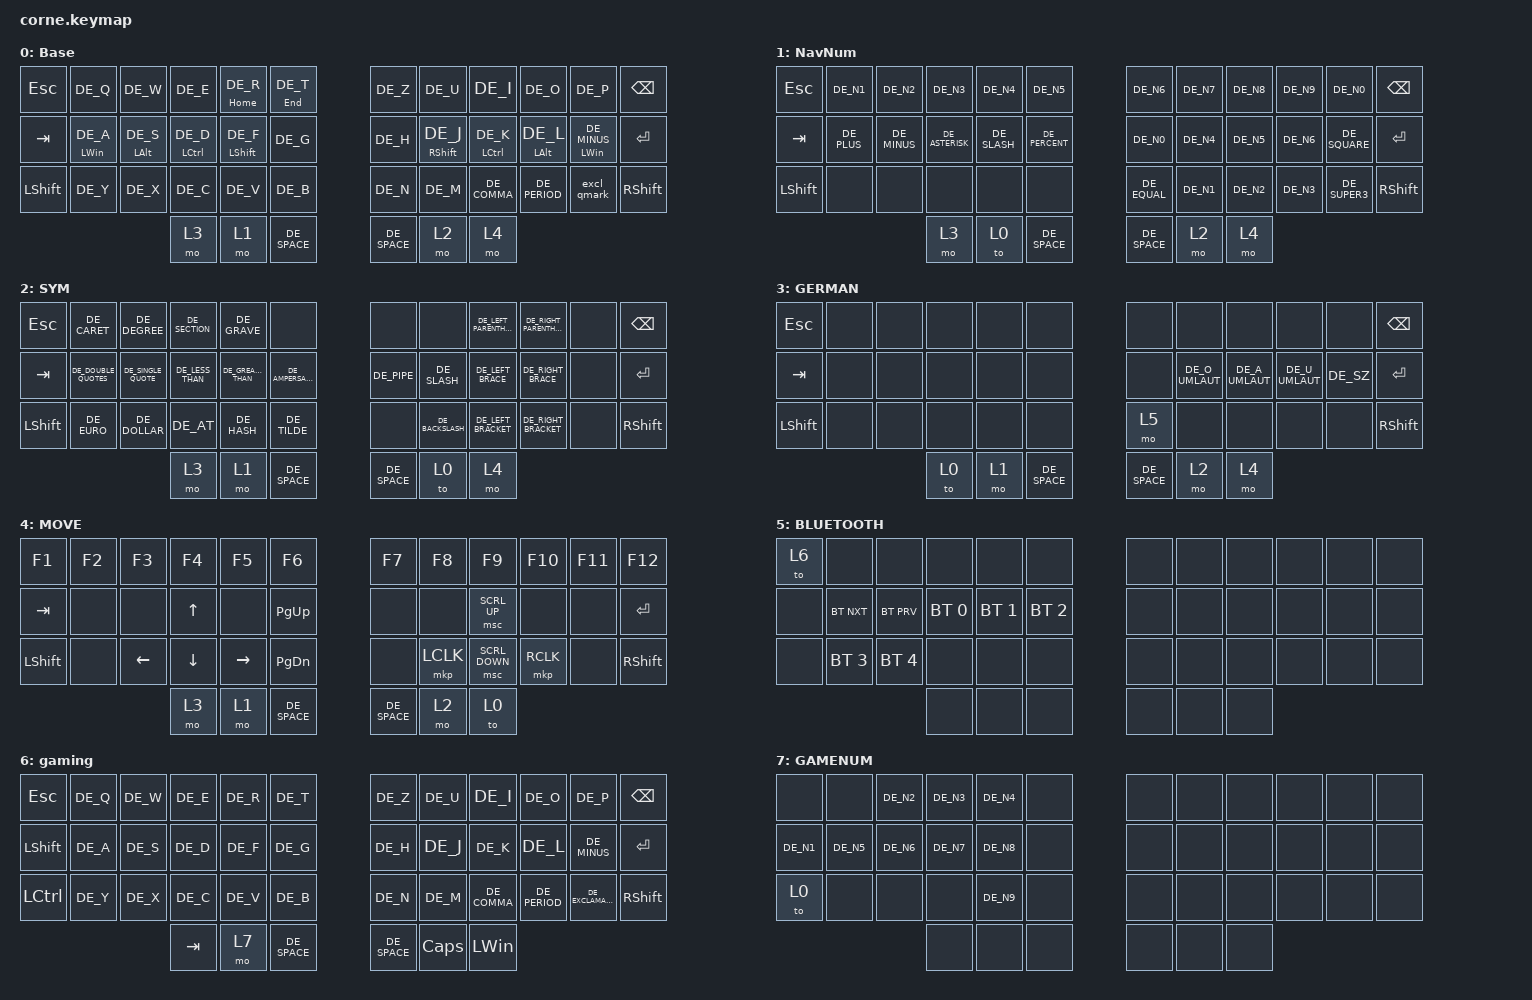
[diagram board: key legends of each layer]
#include <behaviors.dtsi>
#include <dt-bindings/zmk/bt.h>
#include <dt-bindings/zmk/keys.h>
#include <dt-bindings/zmk/pointing.h>
#include "keys_de.h"

#define DEF 0
#define NAV 1
#define SYM 2
#define ADJ 3
#define EXTRA 4

/ {
    behaviors {
        excl_qmark: exclamation_question {
            compatible = "zmk,behavior-mod-morph";
            #binding-cells = <0>;
            bindings = <&kp DE_EXCL>, <&kp DE_QMARK>;

            mods = <(MOD_LSFT|MOD_RSFT)>;
        };

        hm: homerow_mods {
            compatible = "zmk,behavior-hold-tap";
            #binding-cells = <2>;
            tapping-term-ms = <200>;
            flavor = "tap-preferred";
            bindings = <&kp>, <&kp>;

            quick-tap-ms = <180>;
            require-prior-idle-ms = <120>; /* tune to taste */
        };

        para: para {
            compatible = "zmk,behavior-tap-dance";
            #binding-cells = <0>;
            bindings = <&kp LEFT_PARENTHESIS>, <&kp RIGHT_PARENTHESIS>;
        };

        caps: caps {
            compatible = "zmk,behavior-caps-word";
            #binding-cells = <0>;
            continue-list = <MINUS BACKSPACE>;
        };

        paraless: paraless {
            compatible = "zmk,behavior-mod-morph";
            bindings = <&kp LEFT_PARENTHESIS>, <&kp LESS_THAN>;

            #binding-cells = <0>;
            mods = <(MOD_LSFT)>;
        };

        paragreat: paragreat {
            compatible = "zmk,behavior-mod-morph";
            bindings = <&kp RIGHT_PARENTHESIS>, <&kp GREATER_THAN>;

            #binding-cells = <0>;
            mods = <(MOD_LSFT)>;
        };

        shift: shift {
            compatible = "zmk,behavior-hold-tap";
            label = "SHIFT";
            bindings = <&kp>, <&kp>;

            #binding-cells = <2>;
            flavor = "balanced";
            tapping-term-ms = <200>;
            quick-tap-ms = <175>;
            require-prior-idle-ms = <150>;
        };
    };

    combos {
        compatible = "zmk,combos";

        right_alt {
            bindings = <&kp RIGHT_ALT>;
            key-positions = <14 21>;
        };

        caps {
            bindings = <&kp CAPSLOCK>;
            key-positions = <0 11>;
        };
    };

    //

    keymap {
        compatible = "zmk,keymap";

        BASE {
            display-name = "Base";

            // -----------------------------------------------------------------------------------------
            // |  Q  |  W  |  E  |  R  |  T  |   |  Y  |  U   |  I  |  O  |  P  |
            // |  A  |  S  |  D  |  F  |  G  |   |  H  |  J   |  K  |  L  |  ;  |
            // |  Z  |  X  |  C  |  V  |  B  |   |  N  |  M   |  ,  |  .  |  /  |
            // | GUI | CTRL | SHFT | LWR | SPC |   | ENT | RSE  | BKSP | ALT | ESC |

            bindings = <
&kp ESCAPE      &kp DE_Q           &kp DE_W           &kp DE_E               &hm HOME DE_R           &hm END DE_T    &kp DE_Z      &kp DE_U                 &kp DE_I               &kp DE_O           &kp DE_P               &kp BACKSPACE
&kp TAB         &hm LEFT_WIN DE_A  &hm LEFT_ALT DE_S  &hm LEFT_CONTROL DE_D  &shift LEFT_SHIFT DE_F  &kp DE_G        &kp DE_H      &shift RIGHT_SHIFT DE_J  &hm LEFT_CONTROL DE_K  &hm LEFT_ALT DE_L  &hm LEFT_WIN DE_MINUS  &kp ENTER
&kp LEFT_SHIFT  &kp DE_Y           &kp DE_X           &kp DE_C               &kp DE_V                &kp DE_B        &kp DE_N      &kp DE_M                 &kp DE_COMMA           &kp DE_PERIOD      &excl_qmark            &kp RIGHT_SHIFT
                                                      &mo 3                  &mo 1                   &kp DE_SPACE    &kp DE_SPACE  &mo 2                    &mo 4
            >;
        };

        NUM {
            display-name = "NavNum";

            // -----------------------------------------------------------------------------------------
            // |  TAB |  1  |  2  |  3  |  4  |  5  |   |  6  |  7  |  8  |  9  |  0  | BKSP |
            // | BTCLR| BT1 | BT2 | BT3 | BT4 | BT5 |   | LFT | DWN |  UP | RGT |     |      |
            // | SHFT |     |     |     |     |     |   |     |     |     |     |     |      |
            // | GUI | CTRL | SHFT | LWR | SPC |   | ENT | RSE  | BKSP | ALT | ESC |

            bindings = <
&kp ESCAPE      &kp DE_N1    &kp DE_N2     &kp DE_N3        &kp DE_N4     &kp DE_N5         &kp DE_N6     &kp DE_N7  &kp DE_N8  &kp DE_N9  &kp DE_N0      &kp BACKSPACE
&kp TAB         &kp DE_PLUS  &kp DE_MINUS  &kp DE_ASTERISK  &kp DE_SLASH  &kp DE_PERCENT    &kp DE_N0     &kp DE_N4  &kp DE_N5  &kp DE_N6  &kp DE_SQUARE  &kp ENTER
&kp LEFT_SHIFT  &none        &none         &none            &none         &none             &kp DE_EQUAL  &kp DE_N1  &kp DE_N2  &kp DE_N3  &kp DE_SUPER3  &kp RIGHT_SHIFT
                                           &mo 3            &to 0         &kp DE_SPACE      &kp DE_SPACE  &mo 2      &mo 4
            >;
        };

        SYM {
            bindings = <
&kp ESCAPE      &kp DE_CARET          &kp DE_DEGREE        &kp DE_SECTION    &kp DE_GRAVE         &none               &none         &none             &kp DE_LEFT_PARENTHESIS  &kp DE_RIGHT_PARENTHESIS  &none  &kp BACKSPACE
&kp TAB         &kp DE_DOUBLE_QUOTES  &kp DE_SINGLE_QUOTE  &kp DE_LESS_THAN  &kp DE_GREATER_THAN  &kp DE_AMPERSAND    &kp DE_PIPE   &kp DE_SLASH      &kp DE_LEFT_BRACE        &kp DE_RIGHT_BRACE        &none  &kp ENTER
&kp LEFT_SHIFT  &kp DE_EURO           &kp DE_DOLLAR        &kp DE_AT         &kp DE_HASH          &kp DE_TILDE        &none         &kp DE_BACKSLASH  &kp DE_LEFT_BRACKET      &kp DE_RIGHT_BRACKET      &none  &kp RIGHT_SHIFT
                                                           &mo 3             &mo 1                &kp DE_SPACE        &kp DE_SPACE  &to 0             &mo 4
            >;
        };

        GERMAN {
            bindings = <
&kp ESCAPE      &none  &none  &none  &none  &none           &none         &none            &none            &none            &none      &kp BACKSPACE
&kp TAB         &none  &none  &none  &none  &none           &none         &kp DE_O_UMLAUT  &kp DE_A_UMLAUT  &kp DE_U_UMLAUT  &kp DE_SZ  &kp ENTER
&kp LEFT_SHIFT  &none  &none  &none  &none  &none           &mo 5         &none            &none            &none            &none      &kp RIGHT_SHIFT
                              &to 0  &mo 1  &kp DE_SPACE    &kp DE_SPACE  &mo 2            &mo 4
            >;
        };

        MOVE {
            bindings = <
&kp F1          &kp F2  &kp F3          &kp F4          &kp F5           &kp F6           &kp F7        &kp F8     &kp F9          &kp F10    &kp F11  &kp F12
&kp TAB         &none   &none           &kp UP_ARROW    &none            &kp PAGE_UP      &none         &none      &msc SCRL_UP    &none      &none    &kp ENTER
&kp LEFT_SHIFT  &none   &kp LEFT_ARROW  &kp DOWN_ARROW  &kp RIGHT_ARROW  &kp PAGE_DOWN    &none         &mkp LCLK  &msc SCRL_DOWN  &mkp RCLK  &none    &kp RIGHT_SHIFT
                                        &mo 3           &mo 1            &kp DE_SPACE     &kp DE_SPACE  &mo 2      &to 0
            >;
        };

        BLUETOOTH {
            bindings = <
&to 6  &none         &none         &none         &none         &none           &none  &none  &none  &none  &none  &none
&none  &bt BT_NXT    &bt BT_PRV    &bt BT_SEL 0  &bt BT_SEL 1  &bt BT_SEL 2    &none  &none  &none  &none  &none  &none
&none  &bt BT_SEL 3  &bt BT_SEL 4  &none         &none         &none           &none  &none  &none  &none  &none  &none
                                   &none         &none         &none           &none  &none  &none
            >;
        };

        GAMING {
            display-name = "gaming";
            bindings = <
&kp ESCAPE        &kp DE_Q  &kp DE_W  &kp DE_E  &kp DE_R  &kp DE_T        &kp DE_Z      &kp DE_U      &kp DE_I      &kp DE_O       &kp DE_P            &kp BACKSPACE
&kp LEFT_SHIFT    &kp DE_A  &kp DE_S  &kp DE_D  &kp DE_F  &kp DE_G        &kp DE_H      &kp DE_J      &kp DE_K      &kp DE_L       &kp DE_MINUS        &kp ENTER
&kp LEFT_CONTROL  &kp DE_Y  &kp DE_X  &kp DE_C  &kp DE_V  &kp DE_B        &kp DE_N      &kp DE_M      &kp DE_COMMA  &kp DE_PERIOD  &kp DE_EXCLAMATION  &kp RIGHT_SHIFT
                                      &kp TAB   &mo 7     &kp DE_SPACE    &kp DE_SPACE  &kp CAPSLOCK  &kp LEFT_WIN
            >;
        };

        GAMENUM {
            bindings = <
&none      &none      &kp DE_N2  &kp DE_N3  &kp DE_N4  &none    &none  &none  &none  &none  &none  &none
&kp DE_N1  &kp DE_N5  &kp DE_N6  &kp DE_N7  &kp DE_N8  &none    &none  &none  &none  &none  &none  &none
&to 0      &none      &none      &none      &kp DE_N9  &none    &none  &none  &none  &none  &none  &none
                                 &none      &none      &none    &none  &none  &none
            >;
        };
    };
};
